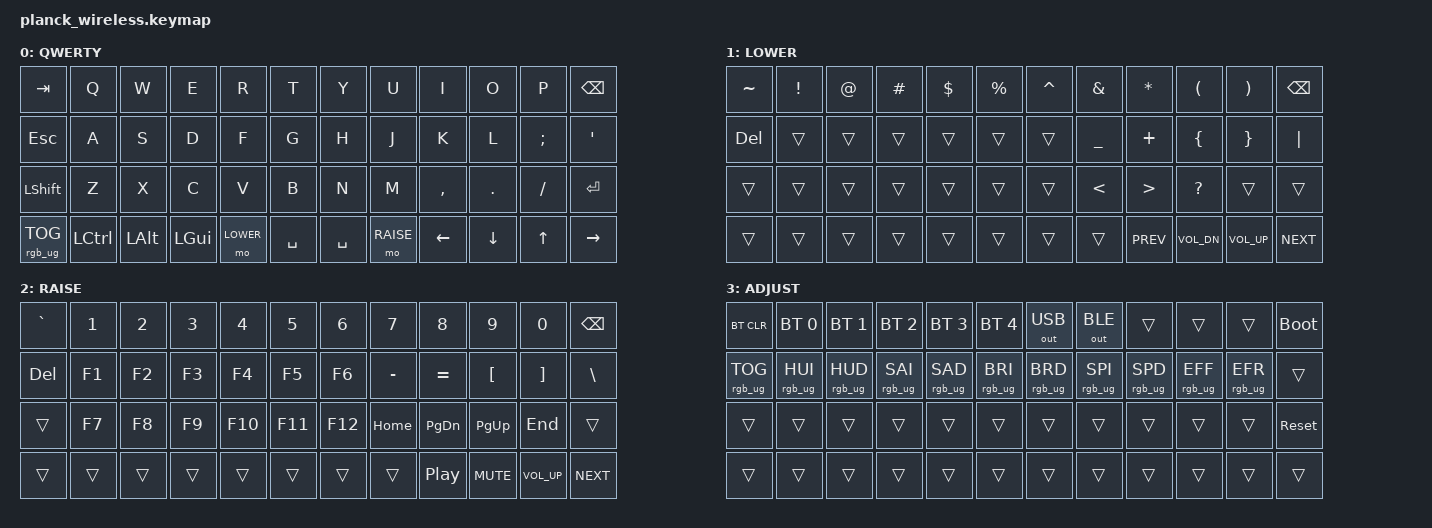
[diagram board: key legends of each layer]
/*
 * Planck (4x12 grid) - wireless, per-key RGB, OLED
 *
 * Layers: 0 QWERTY | 1 LOWER | 2 RAISE | 3 ADJUST (Lower + Raise)
 *
 * SPDX-License-Identifier: MIT
 */

#include <behaviors.dtsi>
#include <dt-bindings/zmk/keys.h>
#include <dt-bindings/zmk/bt.h>
#include <dt-bindings/zmk/outputs.h>
#include <dt-bindings/zmk/rgb.h>

#define QWERTY 0
#define LOWER  1
#define RAISE  2
#define ADJUST 3

/ {
    conditional_layers {
        compatible = "zmk,conditional-layers";
        tri_layer {
            if-layers = <LOWER RAISE>;
            then-layer = <ADJUST>;
        };
    };

    keymap {
        compatible = "zmk,keymap";

        qwerty_layer {
            display-name = "QWERTY";
            bindings = <
&kp TAB     &kp Q       &kp W       &kp E       &kp R       &kp T       &kp Y       &kp U       &kp I       &kp O       &kp P       &kp BSPC
&kp ESC     &kp A       &kp S       &kp D       &kp F       &kp G       &kp H       &kp J       &kp K       &kp L       &kp SEMI    &kp SQT
&kp LSHFT   &kp Z       &kp X       &kp C       &kp V       &kp B       &kp N       &kp M       &kp COMMA   &kp DOT     &kp FSLH    &kp RET
&rgb_ug RGB_TOG &kp LCTRL &kp LALT  &kp LGUI    &mo LOWER   &kp SPACE   &kp SPACE   &mo RAISE   &kp LEFT    &kp DOWN    &kp UP      &kp RIGHT
            >;
        };

        lower_layer {
            display-name = "LOWER";
            bindings = <
&kp TILDE   &kp EXCL    &kp AT      &kp HASH    &kp DLLR    &kp PRCNT   &kp CARET   &kp AMPS    &kp STAR    &kp LPAR    &kp RPAR    &kp BSPC
&kp DEL     &trans      &trans      &trans      &trans      &trans      &trans      &kp UNDER   &kp PLUS    &kp LBRC    &kp RBRC    &kp PIPE
&trans      &trans      &trans      &trans      &trans      &trans      &trans      &kp LT      &kp GT      &kp QMARK   &trans      &trans
&trans      &trans      &trans      &trans      &trans      &trans      &trans      &trans      &kp C_PREV  &kp C_VOL_DN &kp C_VOL_UP &kp C_NEXT
            >;
        };

        raise_layer {
            display-name = "RAISE";
            bindings = <
&kp GRAVE   &kp N1      &kp N2      &kp N3      &kp N4      &kp N5      &kp N6      &kp N7      &kp N8      &kp N9      &kp N0      &kp BSPC
&kp DEL     &kp F1      &kp F2      &kp F3      &kp F4      &kp F5      &kp F6      &kp MINUS   &kp EQUAL   &kp LBKT    &kp RBKT    &kp BSLH
&trans      &kp F7      &kp F8      &kp F9      &kp F10     &kp F11     &kp F12     &kp HOME    &kp PG_DN   &kp PG_UP   &kp END     &trans
&trans      &trans      &trans      &trans      &trans      &trans      &trans      &trans      &kp C_PP    &kp C_MUTE  &kp C_VOL_UP &kp C_NEXT
            >;
        };

        adjust_layer {
            display-name = "ADJUST";
            bindings = <
&bt BT_CLR  &bt BT_SEL 0 &bt BT_SEL 1 &bt BT_SEL 2 &bt BT_SEL 3 &bt BT_SEL 4 &out OUT_USB &out OUT_BLE &trans   &trans      &trans      &bootloader
&rgb_ug RGB_TOG &rgb_ug RGB_HUI &rgb_ug RGB_HUD &rgb_ug RGB_SAI &rgb_ug RGB_SAD &rgb_ug RGB_BRI &rgb_ug RGB_BRD &rgb_ug RGB_SPI &rgb_ug RGB_SPD &rgb_ug RGB_EFF &rgb_ug RGB_EFR &trans
&trans      &trans      &trans      &trans      &trans      &trans      &trans      &trans      &trans      &trans      &trans      &sys_reset
&trans      &trans      &trans      &trans      &trans      &trans      &trans      &trans      &trans      &trans      &trans      &trans
            >;
        };
    };
};
